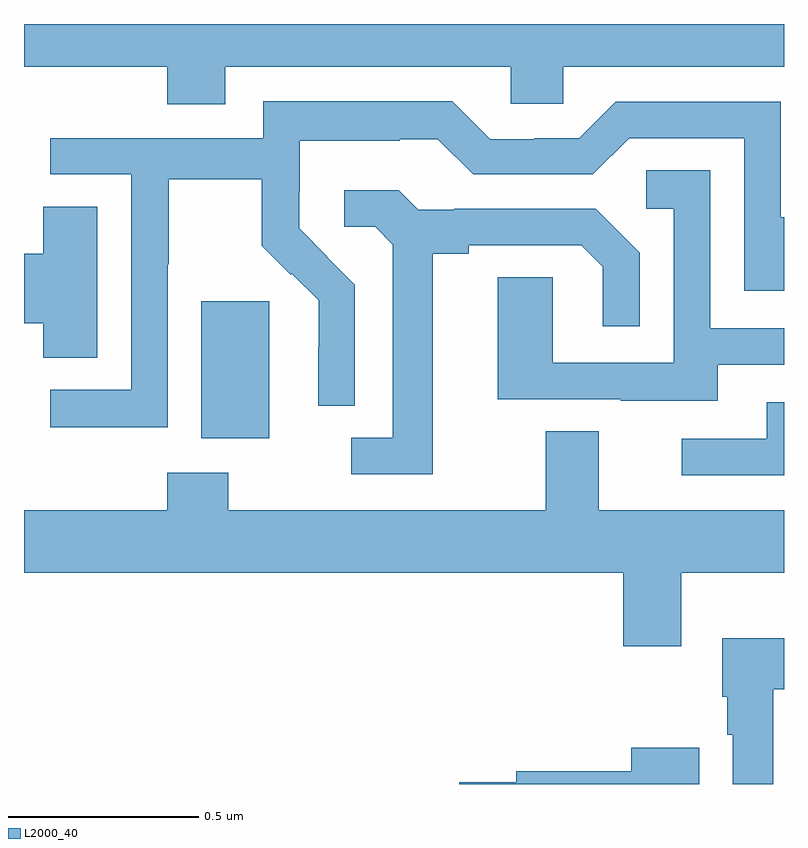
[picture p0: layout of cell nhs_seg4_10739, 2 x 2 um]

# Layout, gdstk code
import gdstk
lib = gdstk.Library(unit=1e-6, precision=1e-09)
def R(c, l, rs):  # rectangles x0, y0, x1, y1
    for r in rs: c.add(gdstk.rectangle(r[:2], r[2:], *l))
def P(c, l, *ps):  # polygons
    for p in ps: c.add(gdstk.Polygon(p, *l))
L2000_40 = (2000, 40)

nhs_seg4_10739 = lib.new_cell('nhs_seg4_10739')
R(nhs_seg4_10739, L2000_40, [(243.467,827.81,243.646,828.171)])
P(nhs_seg4_10739, L2000_40, [(243.529,828.788),(244.281,828.788),(244.281,828.69),(244.419,828.69),(244.419,828.788),(245,828.788),(245,828.9),(243,828.9),(243,828.788),(243.377,828.788),(243.377,828.689),(243.529,828.689)],
  [(243.378,828.268),(243.381,828.268),(243.381,828.492),(243.625,828.492),(243.625,828.317),(243.702,828.24),(243.705,828.243),(243.776,828.173),(243.776,828.05),(243.774,828.05),(243.774,827.896),(243.87,827.896),(243.87,828.214),(243.797,828.287),(243.798,828.288),(243.724,828.362),(243.724,828.459),(243.726,828.459),(243.726,828.593),(243.989,828.593),(243.989,828.597),(244.089,828.597),(244.182,828.504),(244.497,828.504),(244.593,828.6),(244.896,828.6),(244.896,828.198),(245,828.198),(245,828.391),(244.992,828.391),(244.992,828.696),(244.557,828.696),(244.461,828.6),(244.343,828.6),(244.343,828.597),(244.227,828.597),(244.127,828.697),(243.63,828.697),(243.63,828.6),(243.069,828.6),(243.069,828.504),(243.282,828.504),(243.282,827.937),(243.069,827.937),(243.069,827.839),(243.378,827.839)],
  [(244.825,828.003),(245,828.003),(245,828.099),(244.806,828.099),(244.806,828.515),(244.638,828.515),(244.638,828.414),(244.71,828.414),(244.71,828.009),(244.392,828.009),(244.392,828.233),(244.247,828.233),(244.247,827.913),(244.571,827.913),(244.571,827.909),(244.825,827.909)],
  [(244.075,828.296),(244.171,828.296),(244.171,828.318),(244.466,828.318),(244.523,828.261),(244.523,828.105),(244.62,828.105),(244.62,828.298),(244.504,828.414),(244.132,828.414),(244.132,828.411),(244.038,828.411),(243.986,828.463),(243.843,828.463),(243.843,828.366),(243.924,828.366),(243.971,828.319),(243.971,827.811),(243.861,827.811),(243.861,827.715),(244.075,827.715)],
  [(243.193,828.419),(243.05,828.419),(243.05,828.296),(243,828.296),(243,828.113),(243.05,828.113),(243.05,828.022),(243.193,828.022)],
  [(245,827.904),(244.955,827.904),(244.955,827.808),(244.731,827.808),(244.731,827.712),(245,827.712)],
  [(244.729,827.456),(245,827.456),(245,827.62),(244.513,827.62),(244.513,827.828),(244.373,827.828),(244.373,827.62),(243.537,827.62),(243.537,827.719),(243.377,827.719),(243.377,827.62),(243,827.62),(243,827.456),(244.577,827.456),(244.577,827.262),(244.729,827.262)],
  [(244.972,827.15),(245,827.15),(245,827.284),(244.838,827.284),(244.838,827.13),(244.85,827.13),(244.85,827.03),(244.865,827.03),(244.865,826.9),(244.972,826.9)],
  [(244.777,826.996),(244.598,826.996),(244.598,826.934),(244.295,826.934),(244.295,826.904),(244.146,826.904),(244.146,826.9),(244.777,826.9)])

lib.write_gds('nhs_seg4_10739.gds')
